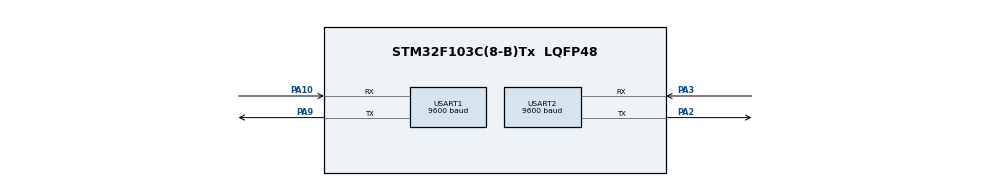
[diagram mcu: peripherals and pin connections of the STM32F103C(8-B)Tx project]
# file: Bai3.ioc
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Mcu.Family=STM32F1
Mcu.Name=STM32F103C(8-B)Tx
Mcu.Package=LQFP48
NVIC.PriorityGroup=NVIC_PRIORITYGROUP_4
PA10.Mode=Asynchronous
PA10.Signal=USART1_RX
PA13.Mode=Serial_Wire
PA13.Signal=SYS_JTMS-SWDIO
PA14.Mode=Serial_Wire
PA14.Signal=SYS_JTCK-SWCLK
PA2.Mode=Asynchronous
PA2.Signal=USART2_TX
PA3.Mode=Asynchronous
PA3.Signal=USART2_RX
PA9.Mode=Asynchronous
PA9.Signal=USART1_TX
ProjectManager.HeapSize=0x200
ProjectManager.StackSize=0x400
ProjectManager.TargetToolchain=MDK-ARM V5.27
RCC.APB1Freq_Value=8000000
RCC.APB2Freq_Value=8000000
USART1.BaudRate=9600
USART1.VirtualMode=VM_ASYNC
USART2.BaudRate=9600
USART2.VirtualMode=VM_ASYNC
board=custom

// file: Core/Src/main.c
/* USER CODE BEGIN Header */
/**
  ******************************************************************************
  * @file           : main.c
  * @brief          : Main program body
  ******************************************************************************
  * @attention
  *
  * <h2><center>&copy; Copyright (c) 2021 STMicroelectronics.
  * All rights reserved.</center></h2>
  *
  * This software component is licensed by ST under BSD 3-Clause license,
  * the "License"; You may not use this file except in compliance with the
  * License. You may obtain a copy of the License at:
  *                        opensource.org/licenses/BSD-3-Clause
  *
  ******************************************************************************
  */
/* USER CODE END Header */
#include "main.h"
#include "string.h"

/* USER CODE BEGIN PTD */
/* FTP variables */
char APNCommand[100] = {0};
char FTPCommand[100] = {0};
char FTPServer[50] = "yourhost";
char FTPPort[6] = "21";
char Username[32] = "user";
char Pass[32] = "pass";

/* Sim variables */
char Sim_response[500] = {0};
char Sim_Rxdata[2] = {0};

/* File variables */
char fileName[20] = "yourfile.txt";
char filePath[50] = "/public_html/DATA/";
/* USER CODE END PTD */

UART_HandleTypeDef huart1;
UART_HandleTypeDef huart2;

void SystemClock_Config(void);
static void MX_GPIO_Init(void);
static void MX_USART1_UART_Init(void);
static void MX_USART2_UART_Init(void);

/* USER CODE BEGIN 0 */
void display(void* data)
{
	HAL_UART_Transmit(&huart2,(uint8_t *)data,(uint16_t)strlen(data),1000);
}

void deleteBuffer(char* buf)
{
	int len = strlen(buf);
	for(int i = 0; i < len; i++)
	{
		buf[i] = 0;
	}
}

int8_t Sim_sendCommand(char* command,char* response,uint32_t timeout)
{
	uint8_t answer = 0, count  = 0;
	deleteBuffer(Sim_response);
	uint32_t time = HAL_GetTick();
	uint32_t time1 = HAL_GetTick();
	HAL_UART_Transmit(&huart1, (uint8_t *)command, (uint16_t)strlen(command), 1000);
	HAL_UART_Transmit(&huart1,(uint8_t *)"\r\n",(uint16_t)strlen("\r\n"),1000);
	do
	{
		while(HAL_UART_Receive(&huart1, (uint8_t *)Sim_Rxdata, 1, 1000) != HAL_OK)
		{
			if(HAL_GetTick() - time > timeout)
			{
				return 0;
			}
		}
                time = HAL_GetTick();
		Sim_response[count++] = Sim_Rxdata[0];
		while((HAL_GetTick() - time < timeout))
		{
			if(HAL_UART_Receive(&huart1, (uint8_t *)Sim_Rxdata, 1, 1000) == HAL_OK)
			{
				Sim_response[count++] = Sim_Rxdata[0];
				time1 = HAL_GetTick();
			}
			else
			{
				if(HAL_GetTick() - time1 > 100)
				{
					if(strstr(Sim_response,response) != NULL)
					{
						answer = 1;
					}
					else
					{
						answer = 0;
					}
					break;
				}
			}
		}
	}
	while(answer == 0);
	display(Sim_response);
	return answer;
}

void Sim_configGPRSnFTP(void)
{
	if(Sim_sendCommand("AT","OK",5000))
	{
		HAL_Delay(10);
		if(Sim_sendCommand("AT+SAPBR=3,1,\"Contype\",\"GPRS\"","OK",5000))	//Configure GPRS
		{
			HAL_Delay(10);
			if(Sim_sendCommand("AT+SAPBR=3,1,\"APN\",\"CMNET\"","OK",5000))
			{
				deleteBuffer(APNCommand);
				HAL_Delay(10);
				strcpy(APNCommand,"AT+SAPBR=3,1,\"USER\",\"");	//Set username for APN
				strcat(APNCommand,Username);
				strcat(APNCommand,"\"");
				if(Sim_sendCommand(APNCommand,"OK",5000))
				{
					deleteBuffer(APNCommand);
					HAL_Delay(10);
					strcpy(APNCommand,"AT+SAPBR=3,1,\"PWD\",\"");		//Set password for APN
					strcat(APNCommand,Pass);
					strcat(APNCommand,"\"");
					if(Sim_sendCommand(APNCommand,"OK",5000))
					{
						deleteBuffer(APNCommand);
						HAL_Delay(10);
						while(Sim_sendCommand("AT+SAPBR=1,1","OK",5000) != 1);	//Open bearer									+ BO SUNG TIME OUT
						if(Sim_sendCommand("AT+FTPCID=1","OK",5000))		//Set FTP bearer profile identifier
						{
							strcpy(FTPCommand,"AT+FTPSERV=\"");	//Set FTP server address
							strcat(FTPCommand,FTPServer);
							strcat(FTPCommand,"\"");
							if(Sim_sendCommand(FTPCommand,"OK",5000))
							{
								deleteBuffer(FTPCommand);
								HAL_Delay(10);
								strcpy(FTPCommand,"AT+FTPPORT=");	//Set FTP server port
								strcat(FTPCommand,FTPPort);
								if(Sim_sendCommand(FTPCommand,"OK",5000))
								{
									deleteBuffer(FTPCommand);
									HAL_Delay(10);
									strcpy(FTPCommand,"AT+FTPUN=\"");	//Set FTP username
									strcat(FTPCommand,Username);
									strcat(FTPCommand,"\"");
									if(Sim_sendCommand(FTPCommand,"OK",5000))
									{
										deleteBuffer(FTPCommand);
										HAL_Delay(10);
										strcpy(FTPCommand,"AT+FTPPW=\"");	//Set FTP password
										strcat(FTPCommand,Pass);
										strcat(FTPCommand,"\"");
										if(Sim_sendCommand(FTPCommand,"OK",5000))
										{
											deleteBuffer(FTPCommand);
											HAL_Delay(10);
											display("Configuration done!\r\n");
										}
									}
								}
							}
						}
					}
				}
			}
		}
	}
}

void Sim_uploadFileFromFTP(char* data)
{
	deleteBuffer(FTPCommand);
	HAL_Delay(10);
	strcpy(FTPCommand,"AT+FTPPUTNAME=\"");	//Set upload file name
	strcat(FTPCommand,fileName);
	strcat(FTPCommand,"\"");
	if(Sim_sendCommand(FTPCommand,"OK",5000))
	{
		deleteBuffer(FTPCommand);
		HAL_Delay(10);
		strcpy(FTPCommand,"AT+FTPPUTPATH=\"");	//Set upload file path
		strcat(FTPCommand,filePath);
		strcat(FTPCommand,"\"");
		if(Sim_sendCommand(FTPCommand,"OK",5000))
		{
			if(Sim_sendCommand("AT+FTPPUT=1","+FTPPUT: 1,1,",30000))
			{
				Sim_sendCommand("AT+FTPPUT=2,10","+FTPPUT: 2,10",30000);
				Sim_sendCommand(data,"+FTPPUT: 1,1",30000);
				Sim_sendCommand("AT+FTPPUT=2,0","+FTPPUT: 1,0",30000);
			}
		}
	}
}

void Sim_downloadFileFromFTP(void)
{
	deleteBuffer(FTPCommand);
	HAL_Delay(10);
	strcpy(FTPCommand,"AT+FTPGETNAME=\"");	//Get file name
	strcat(FTPCommand,fileName);
	strcat(FTPCommand,"\"");
	if(Sim_sendCommand(FTPCommand,"OK",5000))
	{
		deleteBuffer(FTPCommand);
		HAL_Delay(10);
		strcpy(FTPCommand,"AT+FTPGETPATH=\"");	//Get file path
		strcat(FTPCommand,filePath);
		strcat(FTPCommand,"\"");
		if(Sim_sendCommand(FTPCommand,"OK",5000))
		{
			deleteBuffer(FTPCommand);
			HAL_Delay(10);
			if(Sim_sendCommand("AT+FTPGET=1","+FTPGET: 1,1",30000))
			{
				int eof = 0;
				while(eof == 0)
				{
					Sim_sendCommand("AT+FTPGET=2,20","+FTPGET: 2,",30000);
					if(strstr(Sim_response,"+FTPGET: 2,0") != NULL)
					{
						eof = 1;
					}
				}
			}
		}
	}
}

/* USER CODE END 0 */

int main(void)
{

  /* MCU Configuration--------------------------------------------------------*/

  /* Reset of all peripherals, Initializes the Flash interface and the Systick. */
  HAL_Init();

  /* Configure the system clock */
  SystemClock_Config();

  /* Initialize all configured peripherals */
  MX_GPIO_Init();
  MX_USART1_UART_Init();
  MX_USART2_UART_Init();
  /* USER CODE BEGIN 2 */
	//upload file
	Sim_configGPRSnFTP();
	Sim_uploadFileFromFTP("a12b34c56d");
        //Sim_downloadFileFromFTP();
	HAL_Delay(3000);
	Sim_sendCommand("AT+SAPBR=0,1","OK",5000);	//Close bearer

	//download file
	Sim_configGPRSnFTP();
        //Sim_uploadFileFromFTP("a12b34c56d");
	Sim_downloadFileFromFTP();
	HAL_Delay(3000);
	Sim_sendCommand("AT+SAPBR=0,1","OK",5000);	//Close bearer
	/* USER CODE END 2 */

  /* Infinite loop */
  while (1)
  {

  }
}

void SystemClock_Config(void)
{
  RCC_OscInitTypeDef RCC_OscInitStruct = {0};
  RCC_ClkInitTypeDef RCC_ClkInitStruct = {0};

  /** Initializes the RCC Oscillators according to the specified parameters
  * in the RCC_OscInitTypeDef structure.
  */
  RCC_OscInitStruct.OscillatorType = RCC_OSCILLATORTYPE_HSI;
  RCC_OscInitStruct.HSIState = RCC_HSI_ON;
  RCC_OscInitStruct.HSICalibrationValue = RCC_HSICALIBRATION_DEFAULT;
  RCC_OscInitStruct.PLL.PLLState = RCC_PLL_NONE;
  if (HAL_RCC_OscConfig(&RCC_OscInitStruct) != HAL_OK)
  {
    Error_Handler();
  }
  /** Initializes the CPU, AHB and APB buses clocks
  */
  RCC_ClkInitStruct.ClockType = RCC_CLOCKTYPE_HCLK|RCC_CLOCKTYPE_SYSCLK
                              |RCC_CLOCKTYPE_PCLK1|RCC_CLOCKTYPE_PCLK2;
  RCC_ClkInitStruct.SYSCLKSource = RCC_SYSCLKSOURCE_HSI;
  RCC_ClkInitStruct.AHBCLKDivider = RCC_SYSCLK_DIV1;
  RCC_ClkInitStruct.APB1CLKDivider = RCC_HCLK_DIV1;
  RCC_ClkInitStruct.APB2CLKDivider = RCC_HCLK_DIV1;

  if (HAL_RCC_ClockConfig(&RCC_ClkInitStruct, FLASH_LATENCY_0) != HAL_OK)
  {
    Error_Handler();
  }
}

static void MX_USART1_UART_Init(void)
{

  huart1.Instance = USART1;
  huart1.Init.BaudRate = 9600;
  huart1.Init.WordLength = UART_WORDLENGTH_8B;
  huart1.Init.StopBits = UART_STOPBITS_1;
  huart1.Init.Parity = UART_PARITY_NONE;
  huart1.Init.Mode = UART_MODE_TX_RX;
  huart1.Init.HwFlowCtl = UART_HWCONTROL_NONE;
  huart1.Init.OverSampling = UART_OVERSAMPLING_16;
  if (HAL_UART_Init(&huart1) != HAL_OK)
  {
    Error_Handler();
  }

}

static void MX_USART2_UART_Init(void)
{

  huart2.Instance = USART2;
  huart2.Init.BaudRate = 9600;
  huart2.Init.WordLength = UART_WORDLENGTH_8B;
  huart2.Init.StopBits = UART_STOPBITS_1;
  huart2.Init.Parity = UART_PARITY_NONE;
  huart2.Init.Mode = UART_MODE_TX_RX;
  huart2.Init.HwFlowCtl = UART_HWCONTROL_NONE;
  huart2.Init.OverSampling = UART_OVERSAMPLING_16;
  if (HAL_UART_Init(&huart2) != HAL_OK)
  {
    Error_Handler();
  }

}

static void MX_GPIO_Init(void)
{

  /* GPIO Ports Clock Enable */
  __HAL_RCC_GPIOA_CLK_ENABLE();

}

void Error_Handler(void)
{
  __disable_irq();
  while (1)
  {
  }
}

/************************ (C) COPYRIGHT STMicroelectronics *****END OF FILE****/
